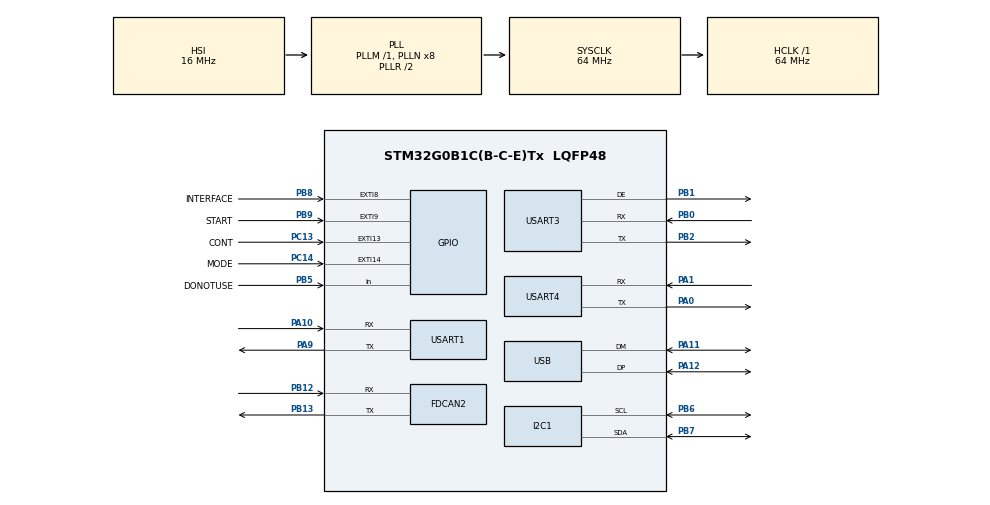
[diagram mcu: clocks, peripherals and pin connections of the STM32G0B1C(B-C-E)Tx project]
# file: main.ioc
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FDCAN2.CalculateBaudRateNominal=1333333
FDCAN2.CalculateTimeBitNominal=750
FDCAN2.CalculateTimeQuantumNominal=250.0
I2C1.Timing=0x10B17DB5
Mcu.Family=STM32G0
Mcu.Name=STM32G0B1C(B-C-E)Tx
Mcu.Package=LQFP48
NVIC.EXTI4_15_IRQn=true\:0\:0\:false\:false\:true\:true\:true\:true
NVIC.TIM16_FDCAN_IT0_IRQn=true\:0\:0\:false\:false\:true\:true\:true\:true
NVIC.TIM17_FDCAN_IT1_IRQn=true\:0\:0\:false\:false\:true\:true\:true\:true
NVIC.USART1_IRQn=true\:0\:0\:false\:false\:true\:true\:true\:true
NVIC.USART3_4_5_6_LPUART1_IRQn=true\:0\:0\:false\:false\:true\:true\:true\:true
PA0.Mode=Asynchronous
PA0.Signal=USART4_TX
PA1.Mode=Asynchronous
PA1.Signal=USART4_RX
PA10.Mode=Asynchronous
PA10.Signal=USART1_RX
PA11\ [PA9].Mode=Device
PA11\ [PA9].Signal=USB_DM
PA12\ [PA10].Mode=Device
PA12\ [PA10].Signal=USB_DP
PA9.Mode=Asynchronous
PA9.Signal=USART1_TX
PB0.Mode=Asynchronous
PB0.Signal=USART3_RX
PB1.Mode=Hardware Flow Control (RS485)
PB1.Signal=USART3_DE
PB12.Mode=FDCAN_Activate
PB12.Signal=FDCAN2_RX
PB13.Mode=FDCAN_Activate
PB13.Signal=FDCAN2_TX
PB2.Mode=Asynchronous
PB2.Signal=USART3_TX
PB5.GPIO_Label=DONOTUSE
PB5.Signal=GPIO_Input
PB6.Mode=I2C
PB6.Signal=I2C1_SCL
PB7.Mode=I2C
PB7.Signal=I2C1_SDA
PB8.GPIO_Label=INTERFACE
PB8.GPIO_ModeDefaultEXTI=GPIO_MODE_IT_RISING_FALLING
PB8.GPIO_PuPd=GPIO_PULLUP
PB8.Signal=GPXTI8
PB9.GPIO_Label=START
PB9.GPIO_ModeDefaultEXTI=GPIO_MODE_IT_RISING_FALLING
PB9.GPIO_PuPd=GPIO_PULLUP
PB9.Signal=GPXTI9
PC13.GPIO_Label=CONT
PC13.GPIO_ModeDefaultEXTI=GPIO_MODE_IT_RISING_FALLING
PC13.GPIO_PuPd=GPIO_PULLUP
PC13.Signal=GPXTI13
PC14-OSC32_IN\ (PC14).GPIO_Label=MODE
PC14-OSC32_IN\ (PC14).GPIO_ModeDefaultEXTI=GPIO_MODE_IT_RISING_FALLING
PC14-OSC32_IN\ (PC14).GPIO_PuPd=GPIO_PULLUP
PC14-OSC32_IN\ (PC14).Signal=GPXTI14
ProjectManager.HeapSize=0x200
ProjectManager.StackSize=0x400
ProjectManager.TargetToolchain=STM32CubeIDE
RCC.ADCFreq_Value=64000000
RCC.AHBFreq_Value=64000000
RCC.CortexFreq_Value=64000000
RCC.EXTERNAL_CLOCK_VALUE=48000
RCC.HCLKFreq_Value=64000000
RCC.HSE_VALUE=8000000
RCC.HSI48_VALUE=48000000
RCC.HSI_VALUE=16000000
RCC.LSE_VALUE=32768
RCC.SYSCLKFreq_VALUE=64000000
RCC.SYSCLKSource=RCC_SYSCLKSOURCE_PLLCLK
RCC.USBFreq_Value=48000000
RCC.VCOOutputFreq_Value=128000000
TIM6.Period=10000
TIM6.Prescaler=15999
USART1.VirtualMode-Asynchronous=VM_ASYNC
USART3.VirtualMode-Asynchronous=VM_ASYNC
USART3.VirtualMode-Hardware\ Flow\ Control\ (RS485)=VM_ASYNC
USART4.VirtualMode-Asynchronous=VM_ASYNC
VP_SYS_VS_DBSignals.Mode=DisableDeadBatterySignals
VP_TIM6_VS_ClockSourceINT.Mode=Enable_Timer
board=custom

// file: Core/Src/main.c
/* USER CODE BEGIN Header */
/**
  ******************************************************************************
  * @file           : main.c
  * @brief          : Main program body
  ******************************************************************************
  * @attention
  *
  * Copyright (c) 2026 STMicroelectronics.
  * All rights reserved.
  *
  * This software is licensed under terms that can be found in the LICENSE file
  * in the root directory of this software component.
  * If no LICENSE file comes with this software, it is provided AS-IS.
  *
  ******************************************************************************
  */
/* USER CODE END Header */
#include "main.h"
#include "fdcan.h"
#include "i2c.h"
#include "tim.h"
#include "usart.h"
#include "usb_drd_fs.h"
#include "gpio.h"

/* USER CODE BEGIN Includes */

#include <buttons.h>
#include <ssd1306.h>
#include <ssd1306_fonts.h>

/* USER CODE END Includes */

/* USER CODE BEGIN PD */

#define STANDARD_DATA 0x9A

/* USER CODE END PD */

/* USER CODE BEGIN PV */
uint32_t tx_byte_cnt = 0;
/* USER CODE END PV */

void SystemClock_Config(void);
/* USER CODE BEGIN PFP */
unsigned int rand(unsigned int* seed);
HAL_StatusTypeDef transmit(uint8_t data);
HAL_StatusTypeDef receive(uint8_t* data);
int countSetBits(unsigned int num);
/* USER CODE END PFP */

int main(void)
{

  /* MCU Configuration--------------------------------------------------------*/

  /* Reset of all peripherals, Initializes the Flash interface and the Systick. */
  HAL_Init();

  /* Configure the system clock */
  SystemClock_Config();

  /* Initialize all configured peripherals */
  MX_GPIO_Init();
  MX_USART1_UART_Init();
  MX_USART3_UART_Init();
  MX_USART4_UART_Init();
  MX_FDCAN2_Init();
  MX_USB_DRD_FS_PCD_Init();
  MX_TIM6_Init();
  MX_I2C1_Init();

  /* Infinite loop */
  /* USER CODE BEGIN WHILE */

  unsigned int transmitSeed = 0;
  unsigned int receiveSeed = 0;

  unsigned int receiveErrors = 0;

  ssd1306_Init();

  ssd1306_Fill(Black);
  ssd1306_SetCursor(0, 0);
  ssd1306_WriteString("Interface: UART", Font_7x10, White);
  ssd1306_SetCursor(0, 11);
  ssd1306_WriteString("Mode: TX", Font_7x10, White);
  ssd1306_SetCursor(0, 22);
  ssd1306_WriteString("Byte Count: ", Font_7x10, White);
  ssd1306_UpdateScreen();

  char buffer[6];

  while (1)
  {
	  if (resetRNG) {
		  transmitSeed = 0;
		  receiveSeed = 0;
		  resetRNG = 0;
	  }

	  if ((role == TRANSMIT || role == RECEIVE_TRANSMIT) && running) {
		  uint8_t data = STANDARD_DATA;
		  if (sendMode == CONTINUOUS_SEND_MODE)
			  data = rand(&transmitSeed) % 256;
		  transmit(data);
		  tx_byte_cnt++;

		  //put to function
		  ssd1306_SetCursor(100, 22); // 20 ok
		  snprintf(buffer, sizeof(buffer), "%d", tx_byte_cnt);
		  ssd1306_WriteString(buffer, Font_7x10, White);
		  ssd1306_UpdateScreen();
	  }

	  if (role == RECEIVE || role == RECEIVE_TRANSMIT) {
		  uint8_t data = 0;
		  if (receive(&data) == HAL_OK) {
			  uint8_t expected = STANDARD_DATA;
			  if (sendMode == CONTINUOUS_SEND_MODE)
				  expected = rand(&receiveSeed) % 256;
			  receiveErrors += countSetBits(expected ^ data);
		  }
	  }
  }

    /* USER CODE END WHILE */

}

void SystemClock_Config(void)
{
  RCC_OscInitTypeDef RCC_OscInitStruct = {0};
  RCC_ClkInitTypeDef RCC_ClkInitStruct = {0};

  /** Configure the main internal regulator output voltage
  */
  HAL_PWREx_ControlVoltageScaling(PWR_REGULATOR_VOLTAGE_SCALE1);

  /** Initializes the RCC Oscillators according to the specified parameters
  * in the RCC_OscInitTypeDef structure.
  */
  RCC_OscInitStruct.OscillatorType = RCC_OSCILLATORTYPE_HSI|RCC_OSCILLATORTYPE_HSI48;
  RCC_OscInitStruct.HSIState = RCC_HSI_ON;
  RCC_OscInitStruct.HSI48State = RCC_HSI48_ON;
  RCC_OscInitStruct.HSIDiv = RCC_HSI_DIV1;
  RCC_OscInitStruct.HSICalibrationValue = RCC_HSICALIBRATION_DEFAULT;
  RCC_OscInitStruct.PLL.PLLState = RCC_PLL_ON;
  RCC_OscInitStruct.PLL.PLLSource = RCC_PLLSOURCE_HSI;
  RCC_OscInitStruct.PLL.PLLM = RCC_PLLM_DIV1;
  RCC_OscInitStruct.PLL.PLLN = 8;
  RCC_OscInitStruct.PLL.PLLP = RCC_PLLP_DIV2;
  RCC_OscInitStruct.PLL.PLLQ = RCC_PLLQ_DIV2;
  RCC_OscInitStruct.PLL.PLLR = RCC_PLLR_DIV2;
  if (HAL_RCC_OscConfig(&RCC_OscInitStruct) != HAL_OK)
  {
    Error_Handler();
  }

  /** Initializes the CPU, AHB and APB buses clocks
  */
  RCC_ClkInitStruct.ClockType = RCC_CLOCKTYPE_HCLK|RCC_CLOCKTYPE_SYSCLK
                              |RCC_CLOCKTYPE_PCLK1;
  RCC_ClkInitStruct.SYSCLKSource = RCC_SYSCLKSOURCE_PLLCLK;
  RCC_ClkInitStruct.AHBCLKDivider = RCC_SYSCLK_DIV1;
  RCC_ClkInitStruct.APB1CLKDivider = RCC_HCLK_DIV1;

  if (HAL_RCC_ClockConfig(&RCC_ClkInitStruct, FLASH_LATENCY_2) != HAL_OK)
  {
    Error_Handler();
  }
}

/* USER CODE BEGIN 4 */

unsigned int rand(unsigned int* seed) {
	*seed = *seed * 1103515243 + 12345;
    return (unsigned int)(*seed / 65536) % 32768;
}

HAL_StatusTypeDef transmit(uint8_t data) {
	switch (currInterface) {
	case UART_RS232_INTERFACE: return HAL_UART_Transmit(&huart4, &data, 1, 10); // UART4
	case UART_RS485_INTERFACE: return HAL_UART_Transmit(&huart3, &data, 1, 10);  // UART3
	case UART_3V3_INTERFACE: HAL_UART_Transmit(&huart1, &data, 1, 10); // UART1
	case CAN_INTERFACE: return ERROR;
	}
	return ERROR;
}

HAL_StatusTypeDef receive(uint8_t* data) {
	switch (currInterface) {
	case UART_RS232_INTERFACE: return HAL_UART_Receive(&huart4, data, 1, 10); // UART4
	case UART_RS485_INTERFACE: return HAL_UART_Receive(&huart3, data, 1, 10);  // UART3
	case UART_3V3_INTERFACE: return HAL_UART_Receive(&huart1, data, 1, 10); // UART1
	case CAN_INTERFACE: return ERROR;
	}
	return ERROR;
}

int countSetBits(unsigned int num)
{
    int count = 0;
    while (num) {
        num &= (num - 1); // Turn off the rightmost set bit
        count++;
    }
    return count;
}

/* USER CODE END 4 */

void Error_Handler(void)
{
  __disable_irq();
  while (1)
  {
  }
}
